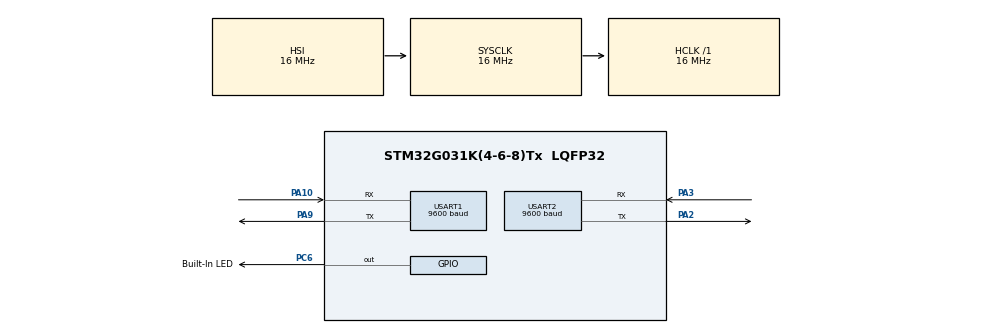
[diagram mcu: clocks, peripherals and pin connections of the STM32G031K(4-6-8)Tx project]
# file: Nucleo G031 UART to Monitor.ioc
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Mcu.Family=STM32G0
Mcu.Name=STM32G031K(4-6-8)Tx
Mcu.Package=LQFP32
NVIC.USART1_IRQn=true\:0\:0\:false\:false\:true\:true\:true
NVIC.USART2_IRQn=true\:0\:0\:false\:false\:true\:true\:true
PA10.Mode=Asynchronous
PA10.Signal=USART1_RX
PA2.Mode=Asynchronous
PA2.Signal=USART2_TX
PA3.Mode=Asynchronous
PA3.Signal=USART2_RX
PA9.Mode=Asynchronous
PA9.Signal=USART1_TX
PC6.GPIO_Label=Built-In LED
PC6.Signal=GPIO_Output
ProjectManager.HeapSize=0x200
ProjectManager.StackSize=0x400
ProjectManager.TargetToolchain=MDK-ARM V5.27
RCC.AHBFreq_Value=16000000
RCC.CortexFreq_Value=16000000
RCC.EXTERNAL_CLOCK_VALUE=12288000
RCC.HCLKFreq_Value=16000000
RCC.HSE_VALUE=8000000
RCC.HSI_VALUE=16000000
RCC.LSE_VALUE=32768
RCC.SYSCLKFreq_VALUE=16000000
RCC.VCOOutputFreq_Value=128000000
USART1.BaudRate=9600
USART1.VirtualMode-Asynchronous=VM_ASYNC
USART2.BaudRate=9600
USART2.VirtualMode-Asynchronous=VM_ASYNC
board=custom

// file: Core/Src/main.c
/* USER CODE BEGIN Header */
/**
  ******************************************************************************
  * @file           : main.c
  * @brief          : Main program body
  ******************************************************************************
  * @attention
  *
  * <h2><center>&copy; Copyright (c) 2022 STMicroelectronics.
  * All rights reserved.</center></h2>
  *
  * This software component is licensed by ST under BSD 3-Clause license,
  * the "License"; You may not use this file except in compliance with the
  * License. You may obtain a copy of the License at:
  *                        opensource.org/licenses/BSD-3-Clause
  *
  ******************************************************************************
  */
/* USER CODE END Header */
#include "main.h"

/* USER CODE BEGIN Includes */
#include "stdio.h"
#include "string.h"
/* USER CODE END Includes */

/* USER CODE BEGIN PTD */
#ifdef __GNUC__
  /* With GCC, small printf (option LD Linker->Libraries->Small printf
     set to 'Yes') calls __io_putchar() */
  #define PUTCHAR_PROTOTYPE int __io_putchar(int ch)
#else
  #define PUTCHAR_PROTOTYPE int fputc(int ch, FILE *f)
#endif /* __GNUC__ */
/* USER CODE END PTD */

UART_HandleTypeDef huart1;
UART_HandleTypeDef huart2;

/* USER CODE BEGIN PV */
char Rx_deviceSerial[10], Tx_deviceSerial[10];
char Rx_monitorSerial[10], Tx_monitorSerial[10];
char * checkSpace;
_Bool clearState;
int Monitor_MaxCharRx, Device_MaxCharTx, Device_MaxCharRx;
char * command[] = {play, time, wifi};
char* cmd;
/* USER CODE END PV */

void SystemClock_Config(void);
static void MX_GPIO_Init(void);
static void MX_USART1_UART_Init(void);
static void MX_USART2_UART_Init(void);
/* USER CODE BEGIN PFP */
void sendToMonitor(char data[10]);
void sendToNucleoG070RB(char data[10]);
char* filterData(char a[]);
void clearBuf();
/* USER CODE END PFP */

/* USER CODE BEGIN 0 */

void HAL_UART_RxCpltCallback(UART_HandleTypeDef *huart)
{
  HAL_UART_Receive_IT(serialMonitor, (uint8_t *)Rx_monitorSerial, sizeof(Rx_monitorSerial));
	HAL_UART_Receive_IT(serialG070RB, (uint8_t *)Rx_deviceSerial, sizeof(Rx_deviceSerial));
}

void clearBuf()
{
	Monitor_MaxCharRx = strlen(Rx_monitorSerial);
	Device_MaxCharTx = strlen(Tx_deviceSerial);

	if(Monitor_MaxCharRx >= 10)
	{
		for(int i=0; i<Monitor_MaxCharRx; i++) {Rx_monitorSerial[i] = '\0';}
	}
	else if (clearState == 1)
	{
		for(int i=0; i<Device_MaxCharTx; i++) {Tx_deviceSerial[i] = '\0';}
		clearState = 0;
	}
}

char* filterData(char a[])
{
	char * bufData;
	char * separator1 = " ";
	bufData = strtok(a, separator1);
	return bufData;
}

void sendCommand()
{
	// Clear data buffer
	clearBuf();

	// Copy Monitor input to buffer before it sends
	strncpy(Tx_deviceSerial, Rx_monitorSerial, 10);

	// Enter SPACE ' ' to send data
	checkSpace = strchr(Tx_deviceSerial, ' ');
	if(checkSpace != NULL)
	{
		cmd = filterData(Tx_deviceSerial);
		for (int i=0; i<strlen(cmd); i++)
		{
			if(strcmp(cmd, command[i]) == 0)
			{
				sendToNucleoG070RB(command[i]);
			}
		}
		/*
		// To reset the serial input monitor
		for(int j=10; j>strlen(cmd); j--)
		{
			if(Rx_monitorSerial[j] == '\0')
			{
				Rx_monitorSerial[j] = ' ';
			}
		}
		*/
		//HAL_Delay(200);
		clearState = 1;
	}
	HAL_Delay(100);

	// Copy Device serial data to buffer before send to monitor
	strncpy(Tx_monitorSerial, Rx_deviceSerial, 10);
}

/* USER CODE END 0 */

int main(void)
{

  /* MCU Configuration--------------------------------------------------------*/

  /* Reset of all peripherals, Initializes the Flash interface and the Systick. */
  HAL_Init();

  /* Configure the system clock */
  SystemClock_Config();

  /* Initialize all configured peripherals */
  MX_GPIO_Init();
  MX_USART1_UART_Init();
  MX_USART2_UART_Init();
  /* USER CODE BEGIN 2 */
	HAL_UART_Receive_IT(serialG070RB, (uint8_t *)Rx_deviceSerial, sizeof(Rx_deviceSerial));
	HAL_UART_Receive_IT(serialMonitor, (uint8_t *)Rx_monitorSerial, sizeof(Rx_monitorSerial));
	clearState = 0;
  /* USER CODE END 2 */

  /* Infinite loop */
  while (1)
  {

    /* USER CODE BEGIN 3 */

		// Sending data to Nucleo G031 according to serial monitor input
		sendCommand();
		sendToMonitor(Tx_monitorSerial);
		//sendToNucleoG070RB("stop ");
		HAL_Delay(500);
  }
  /* USER CODE END 3 */
}

void SystemClock_Config(void)
{
  RCC_OscInitTypeDef RCC_OscInitStruct = {0};
  RCC_ClkInitTypeDef RCC_ClkInitStruct = {0};
  RCC_PeriphCLKInitTypeDef PeriphClkInit = {0};

  /** Configure the main internal regulator output voltage
  */
  HAL_PWREx_ControlVoltageScaling(PWR_REGULATOR_VOLTAGE_SCALE1);
  /** Initializes the RCC Oscillators according to the specified parameters
  * in the RCC_OscInitTypeDef structure.
  */
  RCC_OscInitStruct.OscillatorType = RCC_OSCILLATORTYPE_HSI;
  RCC_OscInitStruct.HSIState = RCC_HSI_ON;
  RCC_OscInitStruct.HSIDiv = RCC_HSI_DIV1;
  RCC_OscInitStruct.HSICalibrationValue = RCC_HSICALIBRATION_DEFAULT;
  RCC_OscInitStruct.PLL.PLLState = RCC_PLL_NONE;
  if (HAL_RCC_OscConfig(&RCC_OscInitStruct) != HAL_OK)
  {
    Error_Handler();
  }
  /** Initializes the CPU, AHB and APB buses clocks
  */
  RCC_ClkInitStruct.ClockType = RCC_CLOCKTYPE_HCLK|RCC_CLOCKTYPE_SYSCLK
                              |RCC_CLOCKTYPE_PCLK1;
  RCC_ClkInitStruct.SYSCLKSource = RCC_SYSCLKSOURCE_HSI;
  RCC_ClkInitStruct.AHBCLKDivider = RCC_SYSCLK_DIV1;
  RCC_ClkInitStruct.APB1CLKDivider = RCC_HCLK_DIV1;

  if (HAL_RCC_ClockConfig(&RCC_ClkInitStruct, FLASH_LATENCY_0) != HAL_OK)
  {
    Error_Handler();
  }
  /** Initializes the peripherals clocks
  */
  PeriphClkInit.PeriphClockSelection = RCC_PERIPHCLK_USART1;
  PeriphClkInit.Usart1ClockSelection = RCC_USART1CLKSOURCE_PCLK1;
  if (HAL_RCCEx_PeriphCLKConfig(&PeriphClkInit) != HAL_OK)
  {
    Error_Handler();
  }
}

static void MX_USART1_UART_Init(void)
{

  huart1.Instance = USART1;
  huart1.Init.BaudRate = 9600;
  huart1.Init.WordLength = UART_WORDLENGTH_8B;
  huart1.Init.StopBits = UART_STOPBITS_1;
  huart1.Init.Parity = UART_PARITY_NONE;
  huart1.Init.Mode = UART_MODE_TX_RX;
  huart1.Init.HwFlowCtl = UART_HWCONTROL_NONE;
  huart1.Init.OverSampling = UART_OVERSAMPLING_16;
  huart1.Init.OneBitSampling = UART_ONE_BIT_SAMPLE_DISABLE;
  huart1.Init.ClockPrescaler = UART_PRESCALER_DIV1;
  huart1.AdvancedInit.AdvFeatureInit = UART_ADVFEATURE_NO_INIT;
  if (HAL_UART_Init(&huart1) != HAL_OK)
  {
    Error_Handler();
  }
  if (HAL_UARTEx_SetTxFifoThreshold(&huart1, UART_TXFIFO_THRESHOLD_1_8) != HAL_OK)
  {
    Error_Handler();
  }
  if (HAL_UARTEx_SetRxFifoThreshold(&huart1, UART_RXFIFO_THRESHOLD_1_8) != HAL_OK)
  {
    Error_Handler();
  }
  if (HAL_UARTEx_DisableFifoMode(&huart1) != HAL_OK)
  {
    Error_Handler();
  }

}

static void MX_USART2_UART_Init(void)
{

  huart2.Instance = USART2;
  huart2.Init.BaudRate = 9600;
  huart2.Init.WordLength = UART_WORDLENGTH_8B;
  huart2.Init.StopBits = UART_STOPBITS_1;
  huart2.Init.Parity = UART_PARITY_NONE;
  huart2.Init.Mode = UART_MODE_TX_RX;
  huart2.Init.HwFlowCtl = UART_HWCONTROL_NONE;
  huart2.Init.OverSampling = UART_OVERSAMPLING_16;
  huart2.Init.OneBitSampling = UART_ONE_BIT_SAMPLE_DISABLE;
  huart2.Init.ClockPrescaler = UART_PRESCALER_DIV1;
  huart2.AdvancedInit.AdvFeatureInit = UART_ADVFEATURE_NO_INIT;
  if (HAL_UART_Init(&huart2) != HAL_OK)
  {
    Error_Handler();
  }

}

static void MX_GPIO_Init(void)
{
  GPIO_InitTypeDef GPIO_InitStruct = {0};

  /* GPIO Ports Clock Enable */
  __HAL_RCC_GPIOA_CLK_ENABLE();
  __HAL_RCC_GPIOC_CLK_ENABLE();

  /*Configure GPIO pin Output Level */
  HAL_GPIO_WritePin(Built_In_LED_GPIO_Port, Built_In_LED_Pin, GPIO_PIN_RESET);

  /*Configure GPIO pin : Built_In_LED_Pin */
  GPIO_InitStruct.Pin = Built_In_LED_Pin;
  GPIO_InitStruct.Mode = GPIO_MODE_OUTPUT_PP;
  GPIO_InitStruct.Pull = GPIO_NOPULL;
  GPIO_InitStruct.Speed = GPIO_SPEED_FREQ_LOW;
  HAL_GPIO_Init(Built_In_LED_GPIO_Port, &GPIO_InitStruct);

}

/* USER CODE BEGIN 4 */

void sendToMonitor(char data[10])
{
	char buf[10];
	sprintf(buf, "\n%s\r", data);
	HAL_UART_Transmit_IT(serialMonitor, (uint8_t *)&buf, sizeof(buf));
}

void sendToNucleoG070RB(char data[10])
{
	char buf[10];
	sprintf(buf, "\n%s\r", data);
	HAL_UART_Transmit_IT(serialG070RB, (uint8_t *)&buf, sizeof(buf));
}

PUTCHAR_PROTOTYPE
{
  /* Place your implementation of fputc here */
  /* e.g. write a character to the EVAL_COM1 and Loop until the end of transmission */
  HAL_UART_Transmit(&huart1, (uint8_t *)&ch, 1, 0xFFFF);

  return ch;
}

/* USER CODE END 4 */

void Error_Handler(void)
{
  __disable_irq();
  while (1)
  {
  }
}

/************************ (C) COPYRIGHT STMicroelectronics *****END OF FILE****/
